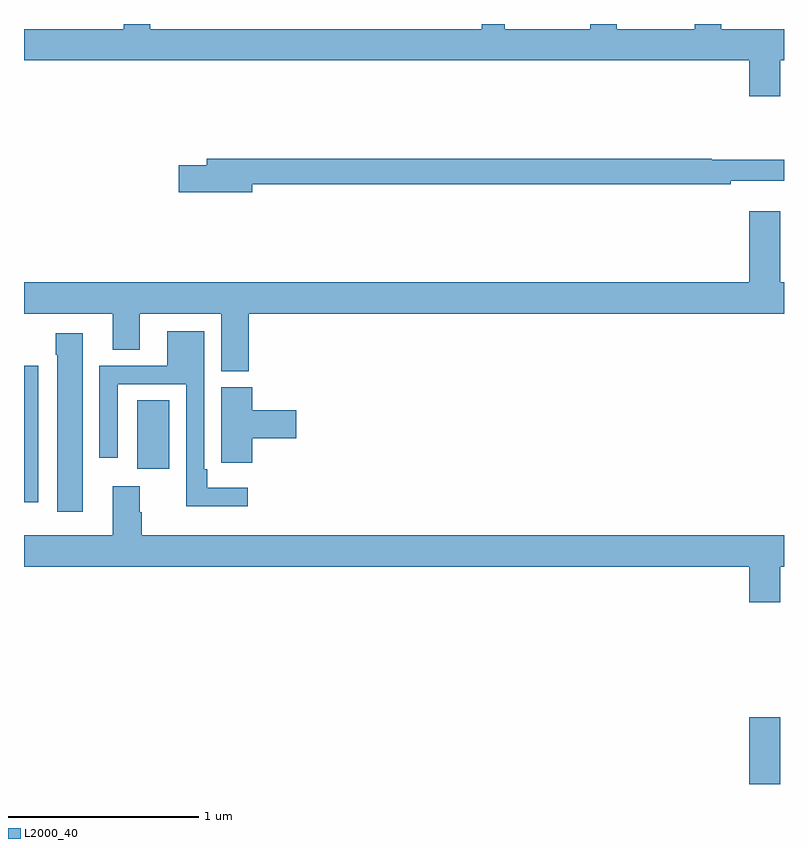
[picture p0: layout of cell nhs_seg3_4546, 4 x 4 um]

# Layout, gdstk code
import gdstk
lib = gdstk.Library(unit=1e-6, precision=1e-09)
def R(c, l, rs):  # rectangles x0, y0, x1, y1
    for r in rs: c.add(gdstk.rectangle(r[:2], r[2:], *l))
def P(c, l, *ps):  # polygons
    for p in ps: c.add(gdstk.Polygon(p, *l))
L2000_40 = (2000, 40)

nhs_seg3_4546 = lib.new_cell('nhs_seg3_4546')
R(nhs_seg3_4546, L2000_40, [(356.816,738.4,356.98,738.751), (353,739.884,353.074,740.602), (353.597,740.058,353.764,740.42)])
P(nhs_seg3_4546, L2000_40, [(356.98,742.208),(357,742.208),(357,742.372),(356.671,742.372),(356.671,742.4),(356.531,742.4),(356.531,742.372),(356.119,742.372),(356.119,742.4),(355.98,742.4),(355.98,742.372),(355.531,742.372),(355.531,742.4),(355.41,742.4),(355.41,742.372),(353.665,742.372),(353.665,742.4),(353.526,742.4),(353.526,742.372),(353,742.372),(353,742.208),(356.816,742.208),(356.816,742.02),(356.98,742.02)],
  [(354.202,741.556),(356.72,741.556),(356.72,741.575),(357,741.575),(357,741.685),(356.62,741.685),(356.62,741.692),(353.963,741.692),(353.963,741.656),(353.814,741.656),(353.814,741.514),(354.202,741.514)],
  [(354.182,740.876),(357,740.876),(357,741.04),(356.98,741.04),(356.98,741.415),(356.816,741.415),(356.816,741.04),(353,741.04),(353,740.876),(353.468,740.876),(353.468,740.686),(353.608,740.686),(353.608,740.876),(354.038,740.876),(354.038,740.572),(354.182,740.572)],
  [(354.178,739.96),(353.965,739.96),(353.965,740.056),(353.949,740.056),(353.949,740.782),(353.753,740.782),(353.753,740.601),(353.397,740.601),(353.397,740.118),(353.493,740.118),(353.493,740.505),(353.853,740.505),(353.853,739.862),(354.178,739.862)],
  [(353.308,740.773),(353.167,740.773),(353.167,740.66),(353.174,740.66),(353.174,739.833),(353.308,739.833)],
  [(354.2,740.219),(354.433,740.219),(354.433,740.366),(354.2,740.366),(354.2,740.487),(354.038,740.487),(354.038,740.203),(354.039,740.203),(354.039,740.091),(354.2,740.091)],
  [(356.98,739.544),(357,739.544),(357,739.708),(353.621,739.708),(353.621,739.829),(353.608,739.829),(353.608,739.966),(353.468,739.966),(353.468,739.708),(353,739.708),(353,739.544),(356.816,739.544),(356.816,739.356),(356.98,739.356)])

lib.write_gds('nhs_seg3_4546.gds')
